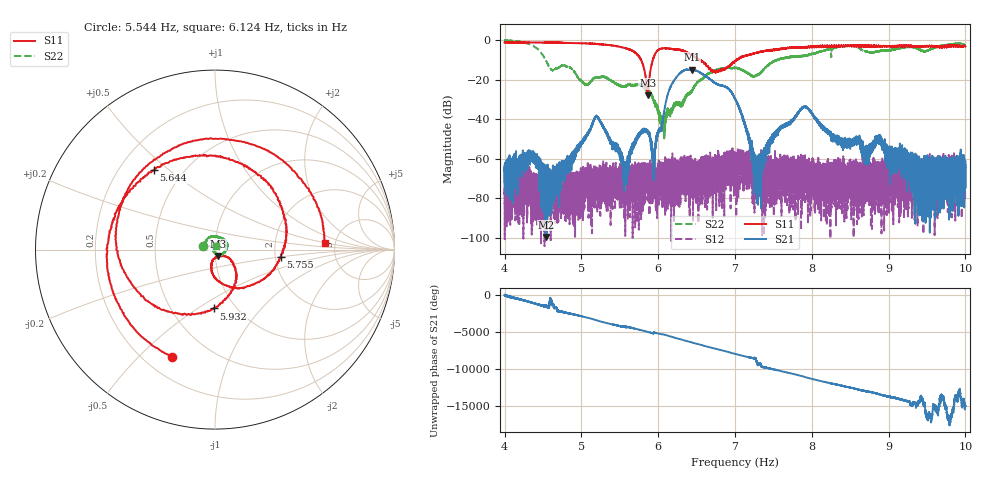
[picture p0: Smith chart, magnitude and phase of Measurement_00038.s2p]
!Created with skrf (http://scikit-rf.org).
# Hz S RI R 50.0
!freq ReS11 ImS11 ReS21 ImS21 ReS12 ImS12 ReS22 ImS22
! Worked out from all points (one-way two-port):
!   14001 points, 4 Hz to 10 Hz, reference 50 ohm
!   highest |S21| = -14.89 dB at 6.44 Hz (marker M1); lowest = -99.6 dB at 4.545 Hz (marker M2)
!   lowest |S11| = -27.9 dB at 5.863 Hz (marker M3), VSWR 1.08, Z = 51.4 - j3.83 ohm
!   |S11| at or under -10 dB: 5.775547 Hz to 5.77568 Hz (132.2 uHz wide, 0.00229 % of centre); 5.777 Hz to 5.929 Hz (152.7 mHz wide, 2.61 % of centre); 6.538 Hz to 7.02 Hz (482.5 mHz wide, 7.12 % of centre)
!   |S22| runs from -49.7 to -0.2 dB; largest |S21 - S12| = 0.18
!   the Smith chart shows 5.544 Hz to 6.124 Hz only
!   S11 on the Smith chart (normalised r, x): 5.544 Hz: 0.31, -0.63; 5.644 Hz: 0.34, +0.45; 5.755 Hz: 2.15, -0.19; 5.932 Hz: 0.80, -0.59; 6.124 Hz: 4.11, +0.47
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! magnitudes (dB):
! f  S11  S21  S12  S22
! 4 Hz  -1.2  -66.5  -78.5  -0.3
! 4.352 Hz  -1.2  -59.7  -70.4  -2.6
! 4.545 Hz  -1.3  -99.6  -74.4  -10.8
! 5 Hz  -1.6  -52.1  -72.0  -20.7
! 5.208 Hz  -2.0  -39.1  -71.7  -18.9
! 5.544 Hz  -3.8  -64.2  -76.2  -23.3
! 5.644 Hz  -5.0  -55.2  -69.2  -22.6
! 5.755 Hz  -8.7  -48.3  -69.9  -22.8
! 5.863 Hz  -27.9  -46.5  -63.2  -25.7
! 5.932 Hz  -9.7  -61.9  -72.7  -29.6
! 6 Hz  -5.0  -47.0  -67.0  -35.4
! 6.124 Hz  -4.3  -27.5  -64.1  -34.4
! 6.44 Hz  -7.6  -14.9  -61.3  -25.7
! 6.74 Hz  -16.1  -21.7  -61.9  -15.4
! 7 Hz  -10.6  -29.6  -60.4  -14.1
! 7.291 Hz  -6.2  -63.9  -69.1  -17.7
! 7.585 Hz  -4.5  -45.2  -68.6  -9.5
! 8 Hz  -3.6  -37.1  -76.5  -6.9
! 8.282 Hz  -3.2  -48.9  -69.3  -4.1
! 9 Hz  -3.2  -60.5  -69.2  -5.0
! 9.428 Hz  -3.4  -83.4  -66.1  -5.2
! 10 Hz  -3.3  -64.3  -67.8  -3.1
